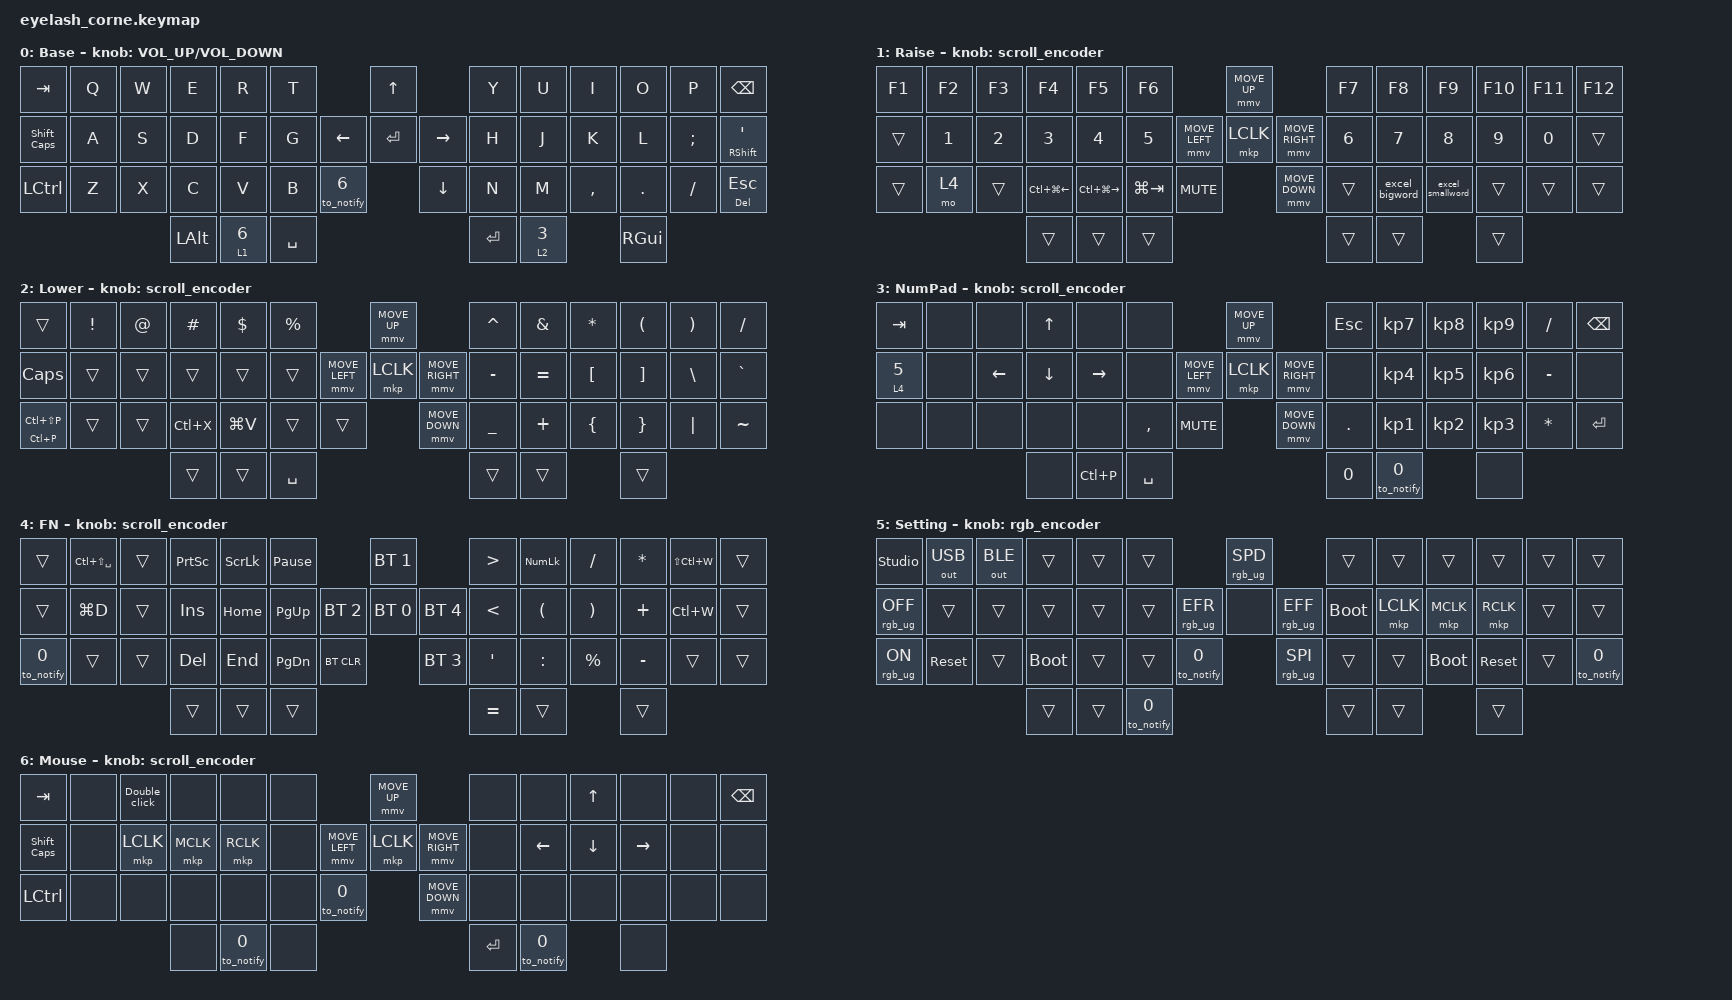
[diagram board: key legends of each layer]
#define ZMK_POINTING_DEFAULT_MOVE_VAL 1200  // 600
#define ZMK_POINTING_DEFAULT_SCRL_VAL 25   // 10

#include <input/processors.dtsi>
#include <zephyr/dt-bindings/input/input-event-codes.h>
#include <behaviors.dtsi>
#include <dt-bindings/zmk/bt.h>
#include <dt-bindings/zmk/keys.h>
#include <dt-bindings/zmk/outputs.h>
#include <dt-bindings/zmk/pointing.h>
#include <dt-bindings/zmk/rgb.h>

&mmv_input_listener { input-processors = <&zip_xy_scaler 2 1>; };

&msc_input_listener { input-processors = <&zip_scroll_scaler 2 1>; };

&msc {
    acceleration-exponent = <1>;      // 0
    time-to-max-speed-ms = <100>;       // 300
    delay-ms = <0>;                   // 0
};

&mmv {
    time-to-max-speed-ms = <500>;
    acceleration-exponent = <1>;
    trigger-period-ms = <16>;
};

/ {
    behaviors {
        hm: homerow_mods {
          compatible = "zmk,behavior-hold-tap";
          label = "HOMEROW_MODS";
          #binding-cells = <2>;
          tapping-term-ms = <200>;
          quick-tap-ms = <125>;
          flavor = "tap-preferred";
          bindings = <&kp>, <&kp>;
        };
    
        mo_to: mo_to {
          compatible = "zmk,behavior-hold-tap";
          label = "MO_TO";
          #binding-cells = <2>;
          tapping-term-ms = <200>;
          quick-tap-ms = <125>;
          flavor = "tap-preferred";
          bindings = <&mo>, <&to_notify>; // 關鍵：改用我們新創造的 to_notify
        };
    
        Shift_Caps: Shift_Caps {
          compatible = "zmk,behavior-tap-dance";
          label = "SHIFT_CAPS";
          #binding-cells = <0>;
          bindings = <&kp LEFT_SHIFT>, <&kp CLCK>;
        };

        rgb_encoder: rgb_encoder {
            compatible = "zmk,behavior-sensor-rotate";
            #sensor-binding-cells = <0>;
            bindings = <&rgb_ug RGB_BRI>, <&rgb_ug RGB_BRD>;
        };
    
        scroll_encoder: scroll_encoder {
            compatible = "zmk,behavior-sensor-rotate";
            #sensor-binding-cells = <0>;
            bindings = <&msc SCRL_DOWN>, <&msc SCRL_UP>;
    
            tap-ms = <100>;
        };

        to_notify: to_notify {
            compatible = "zmk,behavior-macro-one-param";
            #binding-cells = <1>; 
            wait-ms = <10>;
            tap-ms = <10>;
            bindings
                // 1. 先按下 Ctrl + Shift + Alt + Win，並動態加上你傳入的 Layer 數字鍵
                = <&macro_press &kp LCTRL &kp LSHIFT &kp LALT &kp LGUI>
                , <&macro_param_1to1 &macro_tap &kp N0>
                , <&macro_release &kp LCTRL &kp LSHIFT &kp LALT &kp LGUI>
                // 2. 接著執行真正的 Layer 切換
                , <&macro_param_1to1 &to 0>; 
        };
      };

    combos {
        compatible = "zmk,combos";
    
        delete {
          bindings = <&kp DEL>;
          key-positions = <11 12>;
        };
    
        Star {
          bindings = <&kp RS(N8)>;
          key-positions = <3 4>;
        };
    
        Ctrl_Atl_Del {
          bindings = <&kp LA(LC(DEL))>;
          key-positions = <26 27>;
        };
    
        Copy {
          bindings = <&kp LC(C)>;
          key-positions = <2 3>;
        };
    
        Paste {
          bindings = <&kp LC(V)>;
          key-positions = <15 16>;
        };
    
        WIN_V {
          bindings = <&kp LG(V)>;
          key-positions = <29 30>;
        };
    
        excel_downrows {
          bindings = <&kp LS(LC(DOWN_ARROW))>;
          key-positions = <32 33>;
        };
    
        symbol {
          bindings = <&kp LA(LC(COMMA))>;
          key-positions = <36 37>;
        };
      };

    macros {
        Calculator: Calculator {
          compatible = "zmk,behavior-macro";
          #binding-cells = <0>;
          bindings = <&kp RG(S)>, <&macro_wait_time 50>,<&kp C &kp A &kp L &kp RET>;
          label = "CALCULATOR";
        };
    
        excel_bigword: excel_bigword {
          compatible = "zmk,behavior-macro";
          #binding-cells = <0>;
          bindings = <&kp LA(H) &kp F &kp G>;
          label = "EXCEL_BIGWORD";
        };
    
        excel_smallword: excel_smallword {
          compatible = "zmk,behavior-macro";
          #binding-cells = <0>;
          bindings = <&kp LA(H) &kp F &kp K>;
          label = "EXCEL_SMALLWORD";
        };

        Double_click: Double_click {
          compatible = "zmk,behavior-macro";
          #binding-cells = <0>;
          bindings = <&mkp LCLK>, <&macro_wait_time 15>,<&mkp LCLK>;
          label = "Dclick";
        };
      };

    keymap {
        compatible = "zmk,keymap";

        default_layer {
            display-name = "Base";
            bindings = <
&kp TAB        &kp Q      &kp W     &kp E      &kp R       &kp T                               &kp UP                &kp Y    &kp U  &kp I      &kp O    &kp P     &kp BSPC
&Shift_Caps    &kp A      &kp S     &kp D      &kp F       &kp G                     &kp LEFT  &kp ENTER  &kp RIGHT  &kp H    &kp J  &kp K      &kp L    &kp SEMI  &hm RIGHT_SHIFT APOS
&kp LCTRL      &kp Z      &kp X     &kp C      &kp V       &kp B        &to_notify 6           &kp DOWN              &kp N    &kp M  &kp COMMA  &kp DOT  &kp FSLH  &hm DEL ESC
                                    &kp LALT   &mo_to 1 6  &kp SPACE                                                 &kp RET  &mo_to 2 3        &kp RIGHT_GUI
            >;

             sensor-bindings = <&inc_dec_kp C_VOLUME_UP C_VOLUME_DOWN>;

        };

        raise_layer {
            display-name = "Raise";
            bindings = <
&kp F1  &kp F2  &kp F3  &kp F4            &kp F5             &kp F6                                   &mmv MOVE_UP                     &kp F7       &kp F8          &kp F9            &kp F10  &kp F11  &kp F12
&trans  &kp N1  &kp N2  &kp N3            &kp N4             &kp N5                   &mmv MOVE_LEFT  &mkp LCLK    &mmv MOVE_RIGHT     &kp N6       &kp N7          &kp N8            &kp N9   &kp N0   &trans
&trans  &mo 4   &trans  &kp LC(LG(LEFT))  &kp LC(LG(RIGHT))  &kp LG(TAB)  &kp C_MUTE                  &mmv MOVE_DOWN                   &trans       &excel_bigword  &excel_smallword  &trans   &trans   &trans
                        &trans            &trans             &trans                                                                    &trans       &trans          &trans
            >;

            sensor-bindings = <&scroll_encoder>;
        };

        lower_layer {
            display-name = "Lower";
            bindings = <
&trans               &kp EXCL  &kp AT    &kp HASH       &kp DLLR     &kp PRCNT                           &mmv MOVE_UP                      &kp CARET  &kp AMPS   &kp STAR  &kp LPAR  &kp RPAR  &kp SLASH
&kp CLCK             &trans    &trans    &trans         &trans       &trans              &mmv MOVE_LEFT  &mkp LCLK      &mmv MOVE_RIGHT   &kp MINUS  &kp EQUAL  &kp LBKT  &kp RBKT  &kp BSLH  &kp GRAVE
&hm LC(P) LC(LS(P))  &trans    &trans    &kp LC(X)      &kp LG(V)    &trans   &trans                     &mmv MOVE_DOWN                    &kp UNDER  &kp PLUS   &kp LBRC  &kp RBRC  &kp PIPE  &kp TILDE
                                         &trans         &trans       &kp SPACE                                                             &trans     &trans     &trans
            >;

            sensor-bindings = <&scroll_encoder>;
        };

        NumPad {
            display-name = "NumPad";
            bindings = <
&kp TAB       &none  &none     &kp UP_ARROW  &none      &none                                        &mmv MOVE_UP                       &kp ESC     &kp KP_NUMBER_7  &kp KP_NUMBER_8  &kp KP_NUMBER_9  &kp SLASH  &kp BACKSPACE
&mo_to 4 5    &none  &kp LEFT  &kp DOWN      &kp RIGHT  &none                        &mmv MOVE_LEFT  &mkp LCLK    &mmv MOVE_RIGHT       &none       &kp KP_NUMBER_4  &kp KP_NUMBER_5  &kp KP_NUMBER_6  &kp MINUS  &none
&none         &none  &none     &none         &none      &kp COMMA    &kp C_MUTE                      &mmv MOVE_DOWN                     &kp PERIOD  &kp KP_NUMBER_1  &kp KP_NUMBER_2  &kp KP_NUMBER_3  &kp STAR   &kp RET
                          &none         &kp LC(P)  &kp SPACE                                                                            &kp N0      &to_notify 0     &none
            >;

            sensor-bindings = <&scroll_encoder>;
        };

         Function {
            display-name = "FN";
            bindings = <
&trans        &kp LC(LS(SPACE))  &trans  &kp PSCRN  &kp SCROLLLOCK     &kp PAUSE_BREAK                         &bt BT_SEL 1                        &kp GREATER_THAN  &kp KP_NUMLOCK        &kp SLASH              &kp ASTERISK  &kp LS(LC(W))  &trans
&trans        &kp LG(D)          &trans  &kp INS    &kp HOME           &kp PG_UP                 &bt BT_SEL 2  &bt BT_SEL 0    &bt BT_SEL 4        &kp LT            &kp LEFT_PARENTHESIS  &kp RIGHT_PARENTHESIS  &kp PLUS      &kp LC(W)      &trans
&to_notify 0  &trans             &trans  &kp DEL    &kp END            &kp PG_DN  &bt BT_CLR                   &bt BT_SEL 3                        &kp SINGLE_QUOTE  &kp COLON             &kp PERCENT            &kp MINUS     &trans         &trans
                                &trans   &trans     &trans                                                                                         &kp EQUAL         &trans                &trans
            >;

            sensor-bindings = <&scroll_encoder>;
        };

         Setting{
            display-name = "Setting";
            bindings = <
&studio_unlock      &out OUT_USB    &out OUT_BLE   &trans       &trans     &trans                                 &rgb_ug RGB_SPD                       &trans       &trans     &trans       &trans      &trans  &trans
&rgb_ug RGB_OFF     &trans          &trans         &trans       &trans     &trans                 &rgb_ug RGB_EFR  &none             &rgb_ug RGB_EFF    &bootloader  &mkp LCLK  &mkp MCLK    &mkp RCLK   &trans  &trans
&rgb_ug RGB_ON      &sys_reset      &trans         &bootloader  &trans     &trans  &to_notify 0                           &rgb_ug RGB_SPI                      &trans       &trans     &bootloader  &sys_reset  &trans   &to_notify 0
                                                   &trans       &trans     &to_notify 0                                                                        &trans       &trans     &trans
            >;

            sensor-bindings = <&rgb_encoder>;
        };

        Mouse_Emulation {
            display-name = "Mouse"; 
            bindings = <
&kp TAB        &none    &Double_click    &none      &none      &none                                   &mmv MOVE_UP                     &none      &none     &kp UP_ARROW   &none      &none  &kp BACKSPACE
&Shift_Caps    &none    &mkp LCLK        &mkp MCLK  &mkp RCLK  &none                   &mmv MOVE_LEFT  &mkp LCLK    &mmv MOVE_RIGHT     &none      &kp LEFT  &kp DOWN       &kp RIGHT  &none  &none
&kp LCTRL      &none    &none            &none      &none      &none  &to_notify 0                            &mmv MOVE_DOWN                   &none      &none     &none          &none      &none  &none
                                         &none      &to_notify 0      &none                                                                        &kp RET    &to_notify 0     &none 
            >;

            sensor-bindings = <&scroll_encoder>;
        };
    };
};
